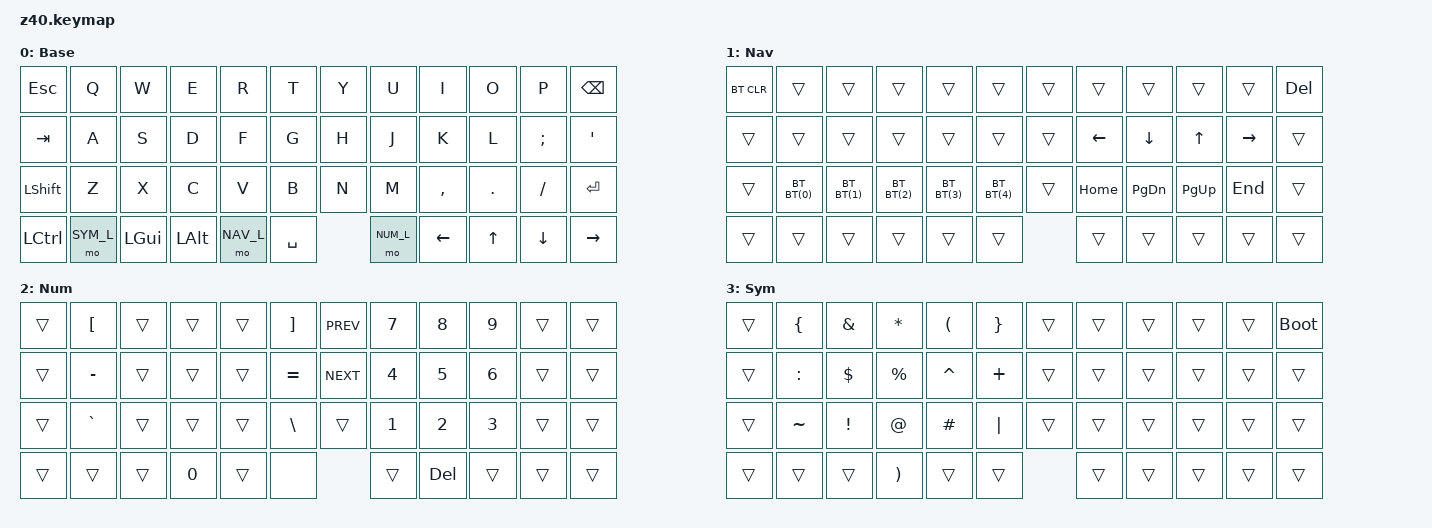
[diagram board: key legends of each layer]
/*
 * Copyright (c) 2022 Pete Johanson
 *
 * SPDX-License-Identifier: MIT
 */

#include <behaviors.dtsi>
#include <dt-bindings/zmk/keys.h>
#include <dt-bindings/zmk/bt.h>
#include <dt-bindings/zmk/outputs.h>

#define QWERTY_BASE 1

#define NAV_L 1
#define NUM_L 2
#define SYM_L 3

// Using layer taps on thumbs, having quick tap as well helps w/ repeating space/backspace
&lt { quick_tap_ms = <200>; };

#define BT(n) BT_SEL n

/ {
    chosen {
       zmk,physical-layout =
                       &layout_ortho_4x12_1x2u;
    };

    macros {
      ZMK_MACRO(thumbs_up,
		wait-ms = <1>;
		tap-ms = <5>;
                bindings = <&kp PLUS &kp COLON &kp PLUS &kp N1 &kp COLON &kp RET>;
		)
    };
    
    tap_dances {
    	shifty: shift_caps_word {
		compatible = "zmk,behavior-tap-dance";
		label = "TD_SHIFTY";
		#binding-cells = <0>;
		tapping-term-ms = <150>;
		bindings = <&kp LSHFT>, <&caps_word>;
	};
    };

// Conditional layer only when we have less thumb keys

    keymap {
        compatible = "zmk,keymap";

        base_layer {
            label = "Base";
            bindings = <
#ifdef QWERTY_BASE
 &kp ESC    &kp Q      &kp W      &kp E       &kp R          &kp T          &kp Y            &kp U          &kp I       &kp O      &kp P         &kp BKSP
 &kp TAB    &kp A      &kp S      &kp D       &kp F          &kp G          &kp H            &kp J          &kp K       &kp L      &kp SEMI      &kp QUOT
 &kp LSHFT  &kp Z      &kp X      &kp C       &kp V          &kp B          &kp N            &kp M          &kp COMMA   &kp DOT    &kp FSLH      &kp RET
#else
 &kp ESC    &kp Q      &kp W      &kp F       &kp P          &kp B          &kp J            &kp L          &kp U       &kp Y      &kp QUOT      &kp BKSP
 &kp TAB    &kp A      &kp R      &kp S       &kp T          &kp G          &kp M            &kp N          &kp E       &kp I      &kp O         &kp QUOT
 &kp LSHFT  &kp Z      &kp X      &kp C       &kp D          &kp V          &kp K            &kp H          &kp COMMA   &kp DOT    &kp SEMI      &kp RET
#endif
 &kp LCTRL  &mo SYM_L   &kp LGUI  &kp LALT    &mo NAV_L          &kp SPACE                   &mo NUM_L      &kp LEFT    &kp UP     &kp DOWN      &kp RIGHT
            >;
        };

        nav_layer {
            label = "Nav";
            bindings = <
&bt BT_CLR &trans     &trans     &trans      &trans          &trans       &trans     &trans         &trans      &trans     &trans     &kp DEL
&trans     &trans     &trans     &trans      &trans          &trans       &trans     &kp LEFT       &kp DOWN    &kp UP     &kp RIGHT  &trans
&trans     &bt BT(0)  &bt BT(1)  &bt BT(2)   &bt BT(3)       &bt BT(4)    &trans     &kp HOME       &kp PG_DN   &kp PG_UP  &kp END    &trans
&trans  &trans        &trans     &trans      &trans                &trans             &trans      &trans   &trans &trans &trans
            >;
        };

        num_layer {
            label = "Num";
            bindings = <
&trans     &kp LBKT   &trans &trans &trans    &kp RBKT    &kp C_PREV    &kp N7     &kp N8      &kp N9       &trans     &trans
&trans     &kp MINUS  &trans &trans &trans    &kp EQUAL   &kp C_NEXT    &kp N4     &kp N5      &kp N6       &trans     &trans
&trans     &kp GRAVE  &trans &trans &trans    &kp BSLH    &trans        &kp N1     &kp N2      &kp N3       &trans     &trans
&trans  &trans       &trans     &kp N0      &trans           &none            &trans        &kp DEL      &trans &trans &trans
            >;
        };

        sym_layer {
            label = "Sym";
            bindings = <
&trans     &kp LBRC   &kp AMPS   &kp STAR    &kp LPAR     &kp RBRC     &trans     &trans    &trans       &trans       &trans     &bootloader
&trans     &kp COLON  &kp DLLR   &kp PRCNT   &kp CARET    &kp PLUS     &trans     &trans    &trans       &trans       &trans     &trans
&trans     &kp TILDE  &kp EXCL   &kp AT      &kp HASH     &kp PIPE     &trans     &trans    &trans       &trans       &trans     &trans
&trans &trans        &trans     &kp RPAR        &trans                &trans             &trans      &trans   &trans &trans &trans
            >;
        };


    };
};

